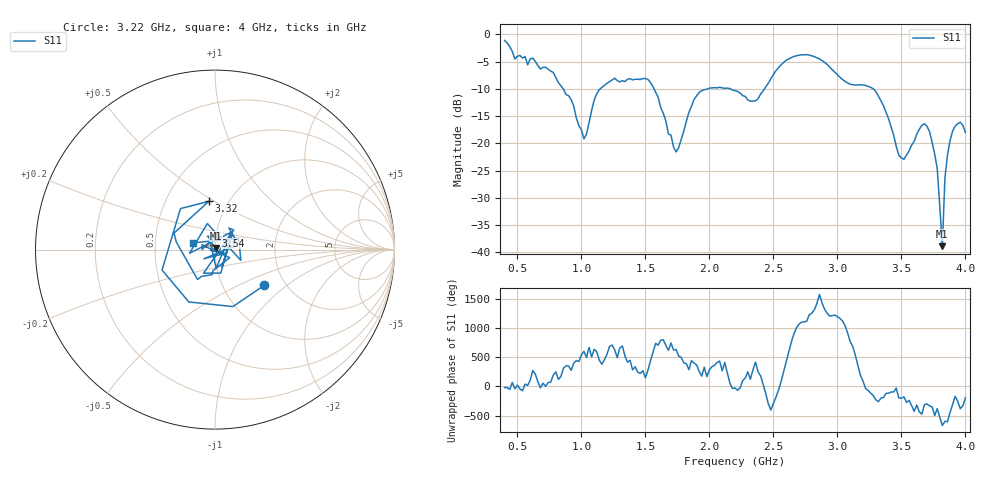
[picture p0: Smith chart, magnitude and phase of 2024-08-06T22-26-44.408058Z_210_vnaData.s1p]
!Created with skrf (http://scikit-rf.org).
# Hz S RI R 50.0
!freq ReS11 ImS11
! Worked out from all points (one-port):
!   181 points, 400 MHz to 4 GHz, reference 50 ohm
!   lowest |S11| = -38.9 dB at 3.82 GHz (marker M1), VSWR 1.02, Z = 50.7 + j0.888 ohm
!   |S11| at or under -10 dB: 857.6 MHz to 1.148 GHz (290.4 MHz wide, 29 % of centre); 1.567 GHz to 1.989 GHz (421.3 MHz wide, 23.7 % of centre); 3.28 GHz to end of sweep (the widest 3 of 4)
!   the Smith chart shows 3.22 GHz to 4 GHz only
!   S11 on the Smith chart (normalised r, x): 3.22 GHz: 1.57, -0.70; 3.32 GHz: 0.81, +0.47; 3.54 GHz: 1.00, +0.16; 4 GHz: 0.78, +0.06
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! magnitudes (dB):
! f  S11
! 400 MHz  -1.1
! 480 MHz  -4.5
! 620 MHz  -4.4
! 860 MHz  -10.1
! 1.02 GHz  -19.2
! 1.12 GHz  -10.9
! 1.3 GHz  -8.7
! 1.52 GHz  -8.3
! 1.72 GHz  -20.7
! 1.76 GHz  -20.8
! 1.92 GHz  -10.7
! 2.2 GHz  -10.4
! 2.36 GHz  -12.2
! 2.66 GHz  -4.1
! 3.1 GHz  -9.2
! 3.22 GHz  -9.4
! 3.32 GHz  -11.3
! 3.48 GHz  -22.2
! 3.54 GHz  -22.1
! 3.56 GHz  -21.4
! 3.66 GHz  -16.7
! 3.72 GHz  -17.9
! 3.78 GHz  -24.6
! 3.82 GHz  -38.9
! 3.84 GHz  -26.4
! 3.88 GHz  -19.5
! 3.94 GHz  -16.4
! 4 GHz  -18.0
